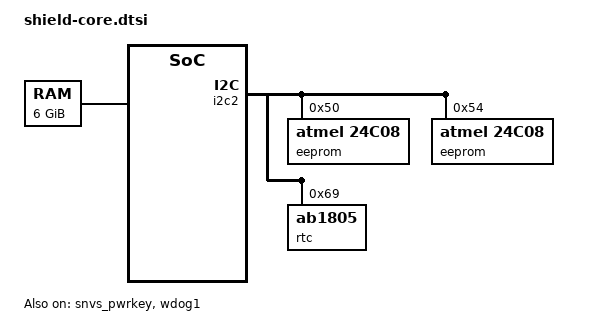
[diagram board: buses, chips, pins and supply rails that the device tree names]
// SPDX-License-Identifier: (GPL-2.0+ OR MIT)
/*
 * Copyright 2025 CriticalShift
 */

#include "shield-emmc.dtsi"
#include "shield-i2c.dtsi"
#include "shield-pmic.dtsi"
#include "shield-uart.dtsi"
#include "shield-usb.dtsi"

/ {
	memory@40000000 {
		device_type = "memory";
		reg = <0x0 0x40000000 0 0xc0000000>,
		      <0x1 0x00000000 0 0xc0000000>;
	};
};

&A53_0 {
	cpu-supply = <&buck2>;
};

&A53_1 {
	cpu-supply = <&buck2>;
};

&A53_2 {
	cpu-supply = <&buck2>;
};

&A53_3 {
	cpu-supply = <&buck2>;
};

&resmem {
	/* global autoconfigured region for contiguous allocations */
	linux,cma {
		compatible = "shared-dma-pool";
		reusable;
		size = <0 0x2c000000>;
		alloc-ranges = <0 0x40000000 0 0x80000000>;
		linux,cma-default;
	};
};

&i2c2 {
	eeprom@50 {
		compatible = "atmel,24c08";
		reg = <0x50>;
		pagesize = <16>;
	};

	eeprom@54 {
		compatible = "atmel,24c08";
		reg = <0x54>;
		pagesize = <16>;
	};

	rtc@69 {
		compatible = "ab1805";
		reg = <0x69>;
		pagesize = <16>;
		sqw = "32768_Hz";
		xt-frequency = <32772300>;
		status = "okay";
	};
};

&snvs_pwrkey {
	status = "okay";
};

&wdog1 {
	pinctrl-names = "default";
	pinctrl-0 = <&pinctrl_wdog>;
	fsl,ext-reset-output;
	status = "okay";
};

&usdhc1 {
	assigned-clocks = <&clk IMX8MP_CLK_USDHC1>;
	assigned-clock-rates = <400000000>;
	pinctrl-names = "default", "state_100mhz", "state_200mhz";
	pinctrl-0 = <&pinctrl_usdhc1>;
	pinctrl-1 = <&pinctrl_usdhc1_100mhz>;
	pinctrl-2 = <&pinctrl_usdhc1_200mhz>;
	bus-width = <4>;
	non-removable;
	status = "disabled";
};

&iomuxc {
	pinctrl_wdog: wdoggrp {
		fsl,pins = <
			MX8MP_IOMUXC_GPIO1_IO02__WDOG1_WDOG_B				0x166
		>;
	};

	pinctrl_usdhc1: usdhc1grp {
		fsl,pins = <
			MX8MP_IOMUXC_SD1_CLK__USDHC1_CLK	0x190
			MX8MP_IOMUXC_SD1_CMD__USDHC1_CMD	0x1d0
			MX8MP_IOMUXC_SD1_DATA0__USDHC1_DATA0	0x1d0
			MX8MP_IOMUXC_SD1_DATA1__USDHC1_DATA1	0x1d0
			MX8MP_IOMUXC_SD1_DATA2__USDHC1_DATA2	0x1d0
			MX8MP_IOMUXC_SD1_DATA3__USDHC1_DATA3	0x1d0
		>;
	};

	pinctrl_usdhc1_100mhz: usdhc1grp-100mhz {
		fsl,pins = <
			MX8MP_IOMUXC_SD1_CLK__USDHC1_CLK	0x194
			MX8MP_IOMUXC_SD1_CMD__USDHC1_CMD	0x1d4
			MX8MP_IOMUXC_SD1_DATA0__USDHC1_DATA0	0x1d4
			MX8MP_IOMUXC_SD1_DATA1__USDHC1_DATA1	0x1d4
			MX8MP_IOMUXC_SD1_DATA2__USDHC1_DATA2	0x1d4
			MX8MP_IOMUXC_SD1_DATA3__USDHC1_DATA3	0x1d4
		>;
	};

	pinctrl_usdhc1_200mhz: usdhc1grp-200mhz {
		fsl,pins = <
			MX8MP_IOMUXC_SD1_CLK__USDHC1_CLK	0x196
			MX8MP_IOMUXC_SD1_CMD__USDHC1_CMD	0x1d6
			MX8MP_IOMUXC_SD1_DATA0__USDHC1_DATA0	0x1d6
			MX8MP_IOMUXC_SD1_DATA1__USDHC1_DATA1	0x1d6
			MX8MP_IOMUXC_SD1_DATA2__USDHC1_DATA2	0x1d6
			MX8MP_IOMUXC_SD1_DATA3__USDHC1_DATA3	0x1d6
		>;
	};
};

